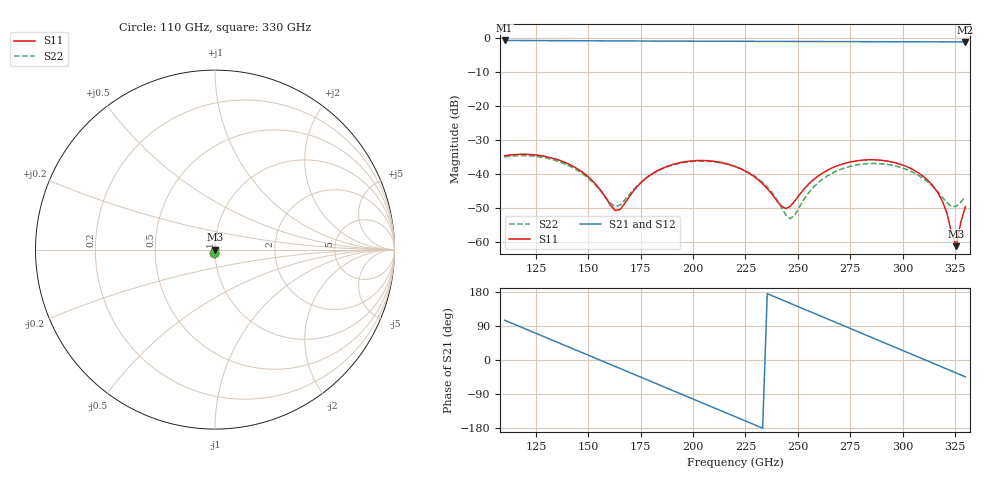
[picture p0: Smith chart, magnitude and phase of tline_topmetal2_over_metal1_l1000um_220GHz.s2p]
#  GHZ S DB R 50
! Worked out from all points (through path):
!   101 points, 110 GHz to 330 GHz, reference 50 ohm
!   highest |S21| = -0.73 dB at 110 GHz (marker M1); lowest = -1.2 dB at 330 GHz (marker M2)
!   group delay of S21, straight-line fit = 6.43 ps
!   lowest |S11| = -61.3 dB at 325.6 GHz (marker M3), VSWR 1.00, Z = 50.1 - j0.0425 ohm
!   |S11| at or under -10 dB: start of sweep to end of sweep
!   |S22| runs from -53.3 to -34.6 dB; largest |S21 - S12| = 1e-13
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110  -34.72 -101.6  -0.73 104.9  -0.73 104.9  -35.06 -102.7
127.6  -34.70 -151.8  -0.78 64.3  -0.78 64.3  -35.11 -154.0
147.4  -39.63 147.2  -0.82 18.5  -0.82 18.5  -40.08 142.5
162.8  -50.81 42.4  -0.86 -17.0  -0.86 -17.0  -49.66 34.5
165  -50.61 9.0  -0.86 -22.1  -0.86 -22.1  -49.28 5.9
176  -42.10 -73.0  -0.89 -47.5  -0.89 -47.5  -42.03 -72.2
184.8  -38.54 -104.1  -0.91 -67.9  -0.91 -67.9  -38.68 -104.5
202.4  -36.11 -156.5  -0.94 -108.6  -0.94 -108.6  -36.28 -158.0
220  -37.86 152.0  -0.98 -149.3  -0.98 -149.3  -37.86 150.6
233.2  -42.95 105.1  -1.00 -179.9  -1.00 -179.9  -42.57 107.4
242  -49.46 41.7  -1.02 159.7  -1.02 159.7  -49.71 59.1
246.4  -49.61 -16.3  -1.02 149.5  -1.02 149.5  -53.29 -1.3
257.4  -41.78 -90.9  -1.04 124.0  -1.04 124.0  -44.01 -100.7
275  -36.54 -147.2  -1.07 83.2  -1.07 83.2  -37.81 -158.9
283.8  -35.89 -171.5  -1.09 62.8  -1.09 62.8  -37.00 175.7
294.8  -36.51 159.0  -1.10 37.3  -1.10 37.3  -37.47 143.8
305.8  -39.06 129.5  -1.12 11.8  -1.12 11.8  -39.83 109.5
314.6  -43.64 104.2  -1.13 -8.6  -1.13 -8.6  -43.85 74.3
319  -48.06 88.4  -1.14 -18.9  -1.14 -18.9  -46.91 47.1
325.6  -61.34 -29.7  -1.15 -34.2  -1.15 -34.2  -49.61 -26.4
327.8  -54.30 -78.1  -1.15 -39.3  -1.15 -39.3  -48.41 -51.7
330  -49.70 -93.9  -1.15 -44.4  -1.15 -44.4  -46.72 -71.4
